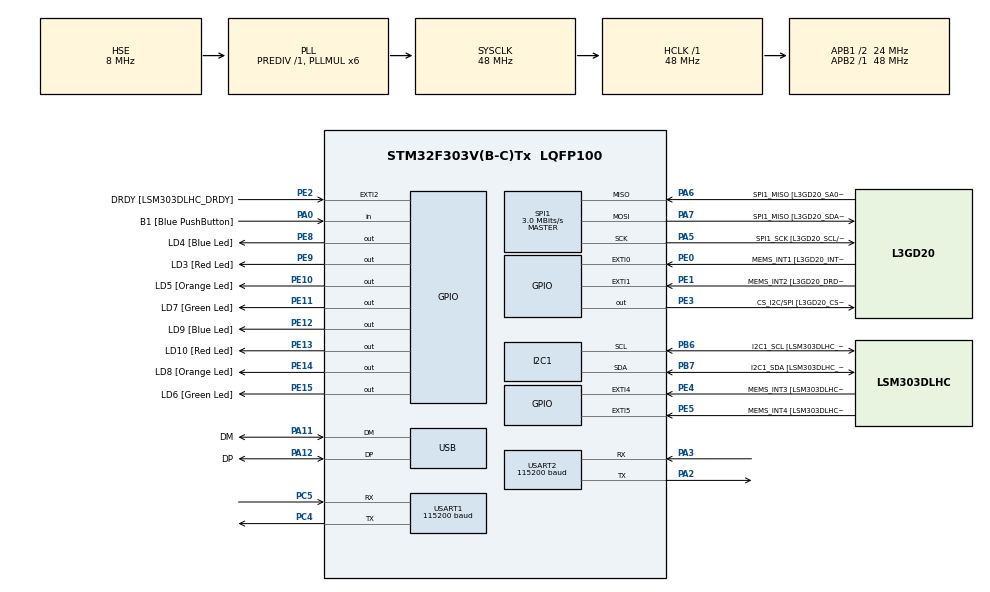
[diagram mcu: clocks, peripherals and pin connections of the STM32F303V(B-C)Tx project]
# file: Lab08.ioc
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I2C1.Timing=0x2000090E
I2C1.Timing-I2C=0x2000090E
Mcu.Family=STM32F3
Mcu.Name=STM32F303V(B-C)Tx
Mcu.Package=LQFP100
NVIC.PriorityGroup=NVIC_PRIORITYGROUP_0
NVIC.SPI1_IRQn=true\:0\:0\:false\:false\:true\:true\:true\:true
PA0.GPIO_Label=B1 [Blue PushButton]
PA0.Signal=GPIO_Input
PA11.GPIO_Label=DM
PA11.Mode=Device
PA11.Signal=USB_DM
PA12.GPIO_Label=DP
PA12.Mode=Device
PA12.Signal=USB_DP
PA13.GPIO_Label=SWDIO
PA13.Mode=Serial_Wire
PA13.Signal=SYS_JTMS-SWDIO
PA14.GPIO_Label=SWCLK
PA14.Mode=Serial_Wire
PA14.Signal=SYS_JTCK-SWCLK
PA2.Mode=Asynchronous
PA2.Signal=USART2_TX
PA3.Mode=Asynchronous
PA3.Signal=USART2_RX
PA5.GPIO_Label=SPI1_SCK [L3GD20_SCL/SPC]
PA5.Mode=Full_Duplex_Master
PA5.Signal=SPI1_SCK
PA6.GPIO_Label=SPI1_MISO [L3GD20_SA0/SDO]
PA6.Mode=Full_Duplex_Master
PA6.Signal=SPI1_MISO
PA7.GPIO_Label=SPI1_MISO [L3GD20_SDA/SDI/SDO]
PA7.Mode=Full_Duplex_Master
PA7.Signal=SPI1_MOSI
PB3.GPIO_Label=SWO
PB3.Signal=SYS_JTDO-TRACESWO
PB6.GPIO_Label=I2C1_SCL [LSM303DLHC_SCL]
PB6.GPIO_Pu=GPIO_PULLUP
PB6.Mode=I2C
PB6.Signal=I2C1_SCL
PB7.GPIO_Label=I2C1_SDA [LSM303DLHC_SDA]
PB7.GPIO_Pu=GPIO_PULLUP
PB7.Mode=I2C
PB7.Signal=I2C1_SDA
PC14-OSC32_IN.GPIO_Label=OSC32_IN
PC14-OSC32_IN.Signal=RCC_OSC32_IN
PC15-OSC32_OUT.GPIO_Label=OSC32_OUT
PC15-OSC32_OUT.Signal=RCC_OSC32_OUT
PC4.Mode=Asynchronous
PC4.Signal=USART1_TX
PC5.Mode=Asynchronous
PC5.Signal=USART1_RX
PE0.GPIO_Label=MEMS_INT1 [L3GD20_INT1]
PE0.GPIO_ModeDefaultEXTI=GPIO_MODE_EVT_RISING
PE0.Signal=GPXTI0
PE1.GPIO_Label=MEMS_INT2 [L3GD20_DRDY/INT2]
PE1.GPIO_ModeDefaultEXTI=GPIO_MODE_EVT_RISING
PE1.Signal=GPXTI1
PE10.GPIO_Label=LD5 [Orange Led]
PE10.Signal=GPIO_Output
PE11.GPIO_Label=LD7 [Green Led]
PE11.Signal=GPIO_Output
PE12.GPIO_Label=LD9 [Blue Led]
PE12.Signal=GPIO_Output
PE13.GPIO_Label=LD10 [Red Led]
PE13.Signal=GPIO_Output
PE14.GPIO_Label=LD8 [Orange Led]
PE14.Signal=GPIO_Output
PE15.GPIO_Label=LD6 [Green Led]
PE15.Signal=GPIO_Output
PE2.GPIO_Label=DRDY [LSM303DLHC_DRDY]
PE2.GPIO_ModeDefaultEXTI=GPIO_MODE_EVT_RISING
PE2.Signal=GPXTI2
PE3.GPIO_Label=CS_I2C/SPI [L3GD20_CS_I2C/SPI]
PE3.Signal=GPIO_Output
PE4.GPIO_Label=MEMS_INT3 [LSM303DLHC_INT1]
PE4.GPIO_ModeDefaultEXTI=GPIO_MODE_EVT_RISING
PE4.Signal=GPXTI4
PE5.GPIO_Label=MEMS_INT4 [LSM303DLHC_INT2]
PE5.GPIO_ModeDefaultEXTI=GPIO_MODE_EVT_RISING
PE5.Signal=GPXTI5
PE8.GPIO_Label=LD4 [Blue Led]
PE8.Signal=GPIO_Output
PE9.GPIO_Label=LD3 [Red Led]
PE9.Signal=GPIO_Output
PF0-OSC_IN.GPIO_Label=OSC_IN
PF0-OSC_IN.Mode=HSE-External-Clock-Source
PF0-OSC_IN.Signal=RCC_OSC_IN
PF1-OSC_OUT.GPIO_Label=OSC_OUT
PF1-OSC_OUT.Signal=RCC_OSC_OUT
ProjectManager.HeapSize=0x200
ProjectManager.StackSize=0x400
ProjectManager.TargetToolchain=CMake
RCC.AHBFreq_Value=48000000
RCC.APB1CLKDivider=RCC_HCLK_DIV2
RCC.APB1Freq_Value=24000000
RCC.APB1TimFreq_Value=48000000
RCC.APB2Freq_Value=48000000
RCC.APB2TimFreq_Value=48000000
RCC.CortexFreq_Value=48000000
RCC.HCLKFreq_Value=48000000
RCC.HSE_VALUE=8000000
RCC.HSI_VALUE=8000000
RCC.LSE_VALUE=32768
RCC.PLLMUL=RCC_PLL_MUL6
RCC.SYSCLKFreq_VALUE=48000000
RCC.SYSCLKSourceVirtual=RCC_SYSCLKSOURCE_PLLCLK
RCC.USBFreq_Value=48000000
SPI1.BaudRatePrescaler=SPI_BAUDRATEPRESCALER_16
SPI1.BaudRatePrescaler-Full_Duplex_Master=SPI_BAUDRATEPRESCALER_2
SPI1.CLKPhase=SPI_PHASE_2EDGE
SPI1.CLKPolarity=SPI_POLARITY_HIGH
SPI1.CalculateBaudRate=3.0 MBits/s
SPI1.CalculateBaudRate-Full_Duplex_Master=24.0 MBits/s
SPI1.DataSize=SPI_DATASIZE_8BIT
SPI1.Direction=SPI_DIRECTION_2LINES
SPI1.Mode=SPI_MODE_MASTER
SPI1.Mode-Full_Duplex_Master=SPI_MODE_MASTER
SPI1.VirtualType=VM_MASTER
USART1.BaudRate=115200
USART1.VirtualMode-Asynchronous=VM_ASYNC
USART2.BaudRate=115200
USART2.VirtualMode-Asynchronous=VM_ASYNC
board=STM32F3DISCOVERY

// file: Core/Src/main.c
/* USER CODE BEGIN Header */
/**
  ******************************************************************************
  * @file           : main.c
  * @brief          : Main program body
  ******************************************************************************
  * @attention
  *
  * Copyright (c) 2026 STMicroelectronics.
  * All rights reserved.
  *
  * This software is licensed under terms that can be found in the LICENSE file
  * in the root directory of this software component.
  * If no LICENSE file comes with this software, it is provided AS-IS.
  *
  ******************************************************************************
  */
/* USER CODE END Header */
#include "main.h"
#include "stdarg.h"
#include "stdio.h"
#include "stm32f3xx_hal.h"
#include "stm32f3xx_hal_spi.h"
#include "string.h"
#include "math.h"
#include <stdint.h>

I2C_HandleTypeDef hi2c1;

SPI_HandleTypeDef hspi1;

UART_HandleTypeDef huart1;
UART_HandleTypeDef huart2;

PCD_HandleTypeDef hpcd_USB_FS;

void SystemClock_Config(void);
static void MX_GPIO_Init(void);
static void MX_I2C1_Init(void);
static void MX_SPI1_Init(void);
static void MX_USB_PCD_Init(void);
static void MX_USART2_UART_Init(void);
static void MX_USART1_UART_Init(void);

/* USER CODE BEGIN 0 */
uint8_t address = 0x26 | 0x80 ;
uint8_t temperature = 0x00;
void myPrintf(const char *fmt, ...);
void HAL_SPI_TxCpltCallback ( SPI_HandleTypeDef *hspi);
void HAL_SPI_RxCpltCallback ( SPI_HandleTypeDef *hspi);
#define CTRL_REG1 0x20
#define CTRL_REG1_VAL 0b00001111 // PD=1 (Power on), Xen/Yen/Zen enabled
void gyro_init ();

/* USER CODE END 0 */

int main(void)
{

  /* MCU Configuration--------------------------------------------------------*/

  /* Reset of all peripherals, Initializes the Flash interface and the Systick. */
  HAL_Init();

  /* Configure the system clock */
  SystemClock_Config();

  /* Initialize all configured peripherals */
  MX_GPIO_Init();
  MX_I2C1_Init();
  MX_SPI1_Init();
  MX_USB_PCD_Init();
  MX_USART2_UART_Init();
  MX_USART1_UART_Init();

  /* Infinite loop */
  /* USER CODE BEGIN WHILE */
  while (1)
  {
    /* USER CODE END 2 */

    HAL_GPIO_WritePin (GPIOE , GPIO_PIN_3 , GPIO_PIN_RESET);
    HAL_SPI_Transmit_IT (&hspi1 , &address, 1 );
    int8_t signed_temp = (int8_t)temperature;
    myPrintf("%d\r\n", signed_temp);
    HAL_Delay(200);
    /* USER CODE END WHILE */

}
}
void SystemClock_Config(void)
{
  RCC_OscInitTypeDef RCC_OscInitStruct = {0};
  RCC_ClkInitTypeDef RCC_ClkInitStruct = {0};
  RCC_PeriphCLKInitTypeDef PeriphClkInit = {0};

  /** Initializes the RCC Oscillators according to the specified parameters
  * in the RCC_OscInitTypeDef structure.
  */
  RCC_OscInitStruct.OscillatorType = RCC_OSCILLATORTYPE_HSI|RCC_OSCILLATORTYPE_HSE;
  RCC_OscInitStruct.HSEState = RCC_HSE_BYPASS;
  RCC_OscInitStruct.HSEPredivValue = RCC_HSE_PREDIV_DIV1;
  RCC_OscInitStruct.HSIState = RCC_HSI_ON;
  RCC_OscInitStruct.HSICalibrationValue = RCC_HSICALIBRATION_DEFAULT;
  RCC_OscInitStruct.PLL.PLLState = RCC_PLL_ON;
  RCC_OscInitStruct.PLL.PLLSource = RCC_PLLSOURCE_HSE;
  RCC_OscInitStruct.PLL.PLLMUL = RCC_PLL_MUL6;
  if (HAL_RCC_OscConfig(&RCC_OscInitStruct) != HAL_OK)
  {
    Error_Handler();
  }

  /** Initializes the CPU, AHB and APB buses clocks
  */
  RCC_ClkInitStruct.ClockType = RCC_CLOCKTYPE_HCLK|RCC_CLOCKTYPE_SYSCLK
                              |RCC_CLOCKTYPE_PCLK1|RCC_CLOCKTYPE_PCLK2;
  RCC_ClkInitStruct.SYSCLKSource = RCC_SYSCLKSOURCE_PLLCLK;
  RCC_ClkInitStruct.AHBCLKDivider = RCC_SYSCLK_DIV1;
  RCC_ClkInitStruct.APB1CLKDivider = RCC_HCLK_DIV2;
  RCC_ClkInitStruct.APB2CLKDivider = RCC_HCLK_DIV1;

  if (HAL_RCC_ClockConfig(&RCC_ClkInitStruct, FLASH_LATENCY_1) != HAL_OK)
  {
    Error_Handler();
  }
  PeriphClkInit.PeriphClockSelection = RCC_PERIPHCLK_USB|RCC_PERIPHCLK_USART1
                              |RCC_PERIPHCLK_USART2|RCC_PERIPHCLK_I2C1;
  PeriphClkInit.Usart1ClockSelection = RCC_USART1CLKSOURCE_PCLK2;
  PeriphClkInit.Usart2ClockSelection = RCC_USART2CLKSOURCE_PCLK1;
  PeriphClkInit.I2c1ClockSelection = RCC_I2C1CLKSOURCE_HSI;
  PeriphClkInit.USBClockSelection = RCC_USBCLKSOURCE_PLL;
  if (HAL_RCCEx_PeriphCLKConfig(&PeriphClkInit) != HAL_OK)
  {
    Error_Handler();
  }
}

static void MX_I2C1_Init(void)
{

  hi2c1.Instance = I2C1;
  hi2c1.Init.Timing = 0x2000090E;
  hi2c1.Init.OwnAddress1 = 0;
  hi2c1.Init.AddressingMode = I2C_ADDRESSINGMODE_7BIT;
  hi2c1.Init.DualAddressMode = I2C_DUALADDRESS_DISABLE;
  hi2c1.Init.OwnAddress2 = 0;
  hi2c1.Init.OwnAddress2Masks = I2C_OA2_NOMASK;
  hi2c1.Init.GeneralCallMode = I2C_GENERALCALL_DISABLE;
  hi2c1.Init.NoStretchMode = I2C_NOSTRETCH_DISABLE;
  if (HAL_I2C_Init(&hi2c1) != HAL_OK)
  {
    Error_Handler();
  }

  /** Configure Analogue filter
  */
  if (HAL_I2CEx_ConfigAnalogFilter(&hi2c1, I2C_ANALOGFILTER_ENABLE) != HAL_OK)
  {
    Error_Handler();
  }

  /** Configure Digital filter
  */
  if (HAL_I2CEx_ConfigDigitalFilter(&hi2c1, 0) != HAL_OK)
  {
    Error_Handler();
  }

}

static void MX_SPI1_Init(void)
{

  /* SPI1 parameter configuration*/
  hspi1.Instance = SPI1;
  hspi1.Init.Mode = SPI_MODE_MASTER;
  hspi1.Init.Direction = SPI_DIRECTION_2LINES;
  hspi1.Init.DataSize = SPI_DATASIZE_8BIT;
  hspi1.Init.CLKPolarity = SPI_POLARITY_HIGH;
  hspi1.Init.CLKPhase = SPI_PHASE_2EDGE;
  hspi1.Init.NSS = SPI_NSS_SOFT;
  hspi1.Init.BaudRatePrescaler = SPI_BAUDRATEPRESCALER_16;
  hspi1.Init.FirstBit = SPI_FIRSTBIT_MSB;
  hspi1.Init.TIMode = SPI_TIMODE_DISABLE;
  hspi1.Init.CRCCalculation = SPI_CRCCALCULATION_DISABLE;
  hspi1.Init.CRCPolynomial = 7;
  hspi1.Init.CRCLength = SPI_CRC_LENGTH_DATASIZE;
  hspi1.Init.NSSPMode = SPI_NSS_PULSE_DISABLE;
  if (HAL_SPI_Init(&hspi1) != HAL_OK)
  {
    Error_Handler();
  }

}

static void MX_USART1_UART_Init(void)
{

  huart1.Instance = USART1;
  huart1.Init.BaudRate = 115200;
  huart1.Init.WordLength = UART_WORDLENGTH_8B;
  huart1.Init.StopBits = UART_STOPBITS_1;
  huart1.Init.Parity = UART_PARITY_NONE;
  huart1.Init.Mode = UART_MODE_TX_RX;
  huart1.Init.HwFlowCtl = UART_HWCONTROL_NONE;
  huart1.Init.OverSampling = UART_OVERSAMPLING_16;
  huart1.Init.OneBitSampling = UART_ONE_BIT_SAMPLE_DISABLE;
  huart1.AdvancedInit.AdvFeatureInit = UART_ADVFEATURE_NO_INIT;
  if (HAL_UART_Init(&huart1) != HAL_OK)
  {
    Error_Handler();
  }

}

static void MX_USART2_UART_Init(void)
{

  huart2.Instance = USART2;
  huart2.Init.BaudRate = 115200;
  huart2.Init.WordLength = UART_WORDLENGTH_8B;
  huart2.Init.StopBits = UART_STOPBITS_1;
  huart2.Init.Parity = UART_PARITY_NONE;
  huart2.Init.Mode = UART_MODE_TX_RX;
  huart2.Init.HwFlowCtl = UART_HWCONTROL_NONE;
  huart2.Init.OverSampling = UART_OVERSAMPLING_16;
  huart2.Init.OneBitSampling = UART_ONE_BIT_SAMPLE_DISABLE;
  huart2.AdvancedInit.AdvFeatureInit = UART_ADVFEATURE_NO_INIT;
  if (HAL_UART_Init(&huart2) != HAL_OK)
  {
    Error_Handler();
  }

}

static void MX_USB_PCD_Init(void)
{

  hpcd_USB_FS.Instance = USB;
  hpcd_USB_FS.Init.dev_endpoints = 8;
  hpcd_USB_FS.Init.speed = PCD_SPEED_FULL;
  hpcd_USB_FS.Init.phy_itface = PCD_PHY_EMBEDDED;
  hpcd_USB_FS.Init.low_power_enable = DISABLE;
  hpcd_USB_FS.Init.battery_charging_enable = DISABLE;
  if (HAL_PCD_Init(&hpcd_USB_FS) != HAL_OK)
  {
    Error_Handler();
  }

}

static void MX_GPIO_Init(void)
{
  GPIO_InitTypeDef GPIO_InitStruct = {0};

  /* GPIO Ports Clock Enable */
  __HAL_RCC_GPIOE_CLK_ENABLE();
  __HAL_RCC_GPIOC_CLK_ENABLE();
  __HAL_RCC_GPIOF_CLK_ENABLE();
  __HAL_RCC_GPIOA_CLK_ENABLE();
  __HAL_RCC_GPIOB_CLK_ENABLE();

  /*Configure GPIO pin Output Level */
  HAL_GPIO_WritePin(GPIOE, CS_I2C_SPI_Pin|LD4_Pin|LD3_Pin|LD5_Pin
                          |LD7_Pin|LD9_Pin|LD10_Pin|LD8_Pin
                          |LD6_Pin, GPIO_PIN_RESET);

  /*Configure GPIO pins : DRDY_Pin MEMS_INT3_Pin MEMS_INT4_Pin MEMS_INT1_Pin
                           MEMS_INT2_Pin */
  GPIO_InitStruct.Pin = DRDY_Pin|MEMS_INT3_Pin|MEMS_INT4_Pin|MEMS_INT1_Pin
                          |MEMS_INT2_Pin;
  GPIO_InitStruct.Mode = GPIO_MODE_EVT_RISING;
  GPIO_InitStruct.Pull = GPIO_NOPULL;
  HAL_GPIO_Init(GPIOE, &GPIO_InitStruct);

  /*Configure GPIO pins : CS_I2C_SPI_Pin LD4_Pin LD3_Pin LD5_Pin
                           LD7_Pin LD9_Pin LD10_Pin LD8_Pin
                           LD6_Pin */
  GPIO_InitStruct.Pin = CS_I2C_SPI_Pin|LD4_Pin|LD3_Pin|LD5_Pin
                          |LD7_Pin|LD9_Pin|LD10_Pin|LD8_Pin
                          |LD6_Pin;
  GPIO_InitStruct.Mode = GPIO_MODE_OUTPUT_PP;
  GPIO_InitStruct.Pull = GPIO_NOPULL;
  GPIO_InitStruct.Speed = GPIO_SPEED_FREQ_LOW;
  HAL_GPIO_Init(GPIOE, &GPIO_InitStruct);

  /*Configure GPIO pin : B1_Pin */
  GPIO_InitStruct.Pin = B1_Pin;
  GPIO_InitStruct.Mode = GPIO_MODE_INPUT;
  GPIO_InitStruct.Pull = GPIO_NOPULL;
  HAL_GPIO_Init(B1_GPIO_Port, &GPIO_InitStruct);

}

/* USER CODE BEGIN 4 */
void HAL_SPI_TxCpltCallback ( SPI_HandleTypeDef *hspi){
  HAL_SPI_Receive_IT (&hspi1 , &temperature , 1 );
}

void HAL_SPI_RxCpltCallback ( SPI_HandleTypeDef *hspi){
  HAL_GPIO_WritePin(GPIOE, GPIO_PIN_3, GPIO_PIN_SET);
}

void gyro_init ()
{
 uint8_t tx [2] = { CTRL_REG1 , CTRL_REG1_VAL };
 // Pull CS low to begin communication
 HAL_GPIO_WritePin (GPIOE , GPIO_PIN_3 , GPIO_PIN_RESET );

 // Send control register configuration
 HAL_SPI_Transmit (&hspi1 , tx , 2, HAL_MAX_DELAY );

 // Pull CS high to end communication
 HAL_GPIO_WritePin (GPIOE , GPIO_PIN_3 , GPIO_PIN_SET );
}

void myPrintf(const char *fmt, ...)
{
  char buffer[10];
  va_list argument;
  va_start(argument, fmt);
  vsnprintf(buffer, sizeof(buffer), fmt, argument);
  HAL_UART_Transmit(&huart2, (uint8_t*)buffer, strlen(buffer), HAL_MAX_DELAY);
}
/* USER CODE END 4 */

void Error_Handler(void)
{
  __disable_irq();
  while (1)
  {
  }
}
